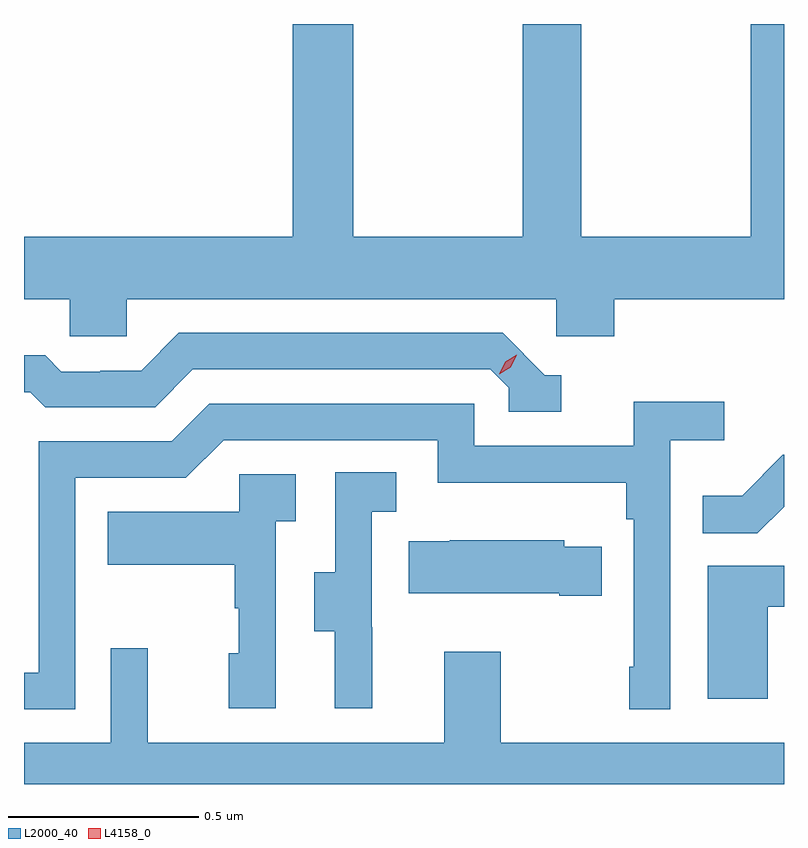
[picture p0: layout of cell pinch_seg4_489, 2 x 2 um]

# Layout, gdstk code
import gdstk
lib = gdstk.Library(unit=1e-6, precision=1e-09)
def P(c, l, *ps):  # polygons
    for p in ps: c.add(gdstk.Polygon(p, *l))
L2000_40 = (2000, 40)
L4158_0 = (4158, 0)

pinch_seg4_489 = lib.new_cell('pinch_seg4_489')
P(pinch_seg4_489, L2000_40, [(925.719,756.86),(926.85,756.86),(926.85,756.762),(927.002,756.762),(927.002,756.86),(927.449,756.86),(927.449,757.584),(927.361,757.584),(927.361,757.024),(926.916,757.024),(926.916,757.584),(926.761,757.584),(926.761,757.024),(926.316,757.024),(926.316,757.584),(926.156,757.584),(926.156,757.024),(925.449,757.024),(925.449,756.86),(925.569,756.86),(925.569,756.762),(925.719,756.762)],
  [(926.863,756.66),(926.82,756.66),(926.709,756.771),(925.856,756.771),(925.757,756.672),(925.65,756.672),(925.65,756.669),(925.547,756.669),(925.505,756.712),(925.449,756.712),(925.449,756.615),(925.466,756.615),(925.505,756.576),(925.794,756.576),(925.893,756.675),(926.676,756.675),(926.724,756.627),(926.724,756.564),(926.863,756.564)],
  [(925.584,756.39),(925.875,756.39),(925.974,756.489),(926.538,756.489),(926.538,756.377),(927.034,756.377),(927.034,756.281),(927.054,756.281),(927.054,755.893),(927.042,755.893),(927.042,755.781),(927.15,755.781),(927.15,756.488),(927.292,756.488),(927.292,756.59),(927.053,756.59),(927.053,756.474),(926.634,756.474),(926.634,756.585),(925.937,756.585),(925.838,756.486),(925.488,756.486),(925.488,755.877),(925.449,755.877),(925.449,755.781),(925.584,755.781)],
  [(927.449,756.314),(927.449,756.45),(927.446,756.45),(927.339,756.343),(927.235,756.343),(927.235,756.244),(927.379,756.244)],
  [(926.366,755.997),(926.364,755.997),(926.364,756.301),(926.428,756.301),(926.428,756.404),(926.268,756.404),(926.268,756.141),(926.213,756.141),(926.213,755.986),(926.267,755.986),(926.267,755.784),(926.366,755.784)],
  [(926.112,756.275),(926.164,756.275),(926.164,756.399),(926.016,756.399),(926.016,756.301),(925.669,756.301),(925.669,756.161),(926.004,756.161),(926.004,756.047),(926.014,756.047),(926.014,755.928),(925.988,755.928),(925.988,755.784),(926.112,755.784)],
  [(926.969,756.208),(926.871,756.208),(926.871,756.226),(926.569,756.226),(926.569,756.223),(926.461,756.223),(926.461,756.086),(926.858,756.086),(926.858,756.079),(926.969,756.079)],
  [(927.406,756.051),(927.449,756.051),(927.449,756.159),(927.248,756.159),(927.248,755.808),(927.406,755.808)],
  [(927.449,755.692),(926.703,755.692),(926.703,755.932),(926.555,755.932),(926.555,755.692),(925.775,755.692),(925.775,755.941),(925.677,755.941),(925.677,755.692),(925.449,755.692),(925.449,755.584),(927.449,755.584)])
P(pinch_seg4_489, L4158_0, [(926.699,756.662),(926.699,756.663),(926.715,756.695),(926.746,756.714),(926.746,756.714),(926.746,756.714),(926.73,756.681),(926.699,756.662)])

lib.write_gds('pinch_seg4_489.gds')
